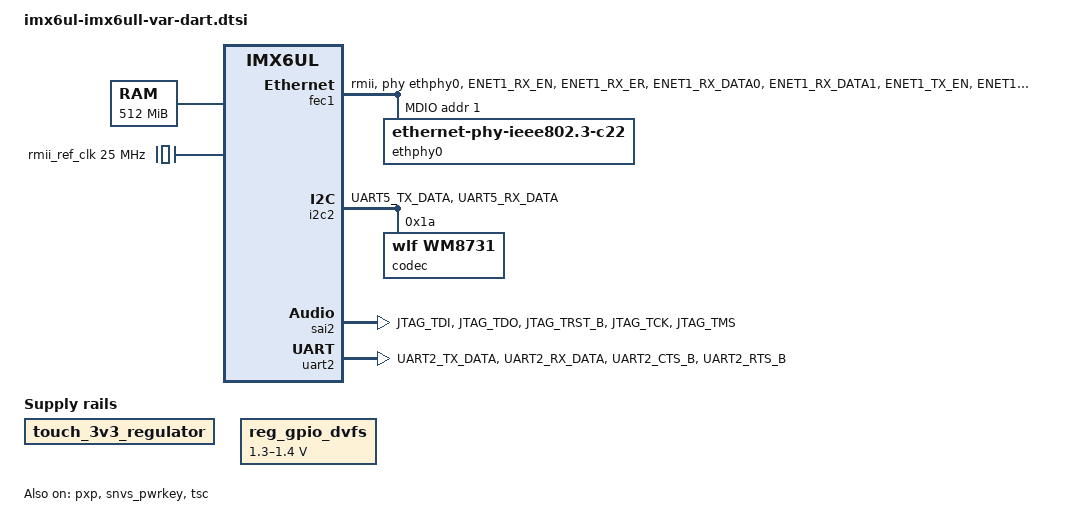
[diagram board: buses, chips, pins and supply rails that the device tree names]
/*
 * Copyright (C) 2015-2019 Variscite Ltd. - https://www.variscite.com
 *
 * This program is free software; you can redistribute it and/or modify
 * it under the terms of the GNU General Public License version 2 as
 * published by the Free Software Foundation.
 */

/ {
	memory {
		reg = <0x80000000 0x20000000>;
	};

	pxp_v4l2 {
		compatible = "fsl,imx6ul-pxp-v4l2", "fsl,imx6sx-pxp-v4l2", "fsl,imx6sl-pxp-v4l2";
		status = "okay";
	};

	regulators {
		compatible = "simple-bus";
		#address-cells = <1>;
		#size-cells = <0>;

		touch_3v3_regulator: touch_3v3_regulator {
			compatible = "regulator-fixed";
			regulator-name = "touch_3v3_supply";
			regulator-always-on;
			status = "okay";
		};

		reg_gpio_dvfs: regulator-gpio {
			compatible = "regulator-gpio";
			regulator-min-microvolt = <1300000>;
			regulator-max-microvolt = <1400000>;
			regulator-name = "gpio_dvfs";
			regulator-type = "voltage";
			gpios = <&gpio4 13 GPIO_ACTIVE_HIGH>;
			states = <1300000 0x1 1400000 0x0>;
		};
	};

	sound {
		compatible = "simple-audio-card";
		simple-audio-card,name = "wm8731audio";
		simple-audio-card,widgets =
			"Headphone", "Headphone Jack",
			"Line", "Line Jack",
			"Microphone", "Mic Jack";
		simple-audio-card,routing =
			"Headphone Jack", "RHPOUT",
			"Headphone Jack", "LHPOUT",
			"LLINEIN", "Line Jack",
			"RLINEIN", "Line Jack",
			"MICIN", "Mic Bias",
			"Mic Bias", "Mic Jack";
		simple-audio-card,format = "i2s";
		simple-audio-card,bitclock-master = <&sound_master>;
		simple-audio-card,frame-master = <&sound_master>;

		sound_master: simple-audio-card,cpu {
			sound-dai = <&sai2>;
		};

		simple-audio-card,codec {
			sound-dai = <&codec>;
			system-clock-frequency = <12288000>;
		};
	};
};

&clks {
	/* ref_clk for micrel ethernet phy */
	rmii_ref_clk: rmii_ref_clk_grp {
		compatible = "fixed-clock";
		#clock-cells = <0>;
		clock-frequency = <25000000>;
		clock-output-names = "rmii-ref";
	};
};

&clks {
	assigned-clocks = <&clks IMX6UL_CLK_PLL4_AUDIO_DIV>;
	assigned-clock-rates = <786432000>;
};

&cpu0 {
	arm-supply = <&reg_arm>;
	soc-supply = <&reg_soc>;
	dc-supply = <&reg_gpio_dvfs>;
};

&fec1 {
	pinctrl-names = "default";
	pinctrl-0 = <&pinctrl_enet1>, <&pinctrl_enet1_gpio>, <&pinctrl_enet1_mdio>;
	phy-mode = "rmii";
	phy-reset-gpios=<&gpio5 0 GPIO_ACTIVE_LOW>;
	phy-reset-duration=<100>;
	phy-handle = <&ethphy0>;
	status = "okay";

	mdio {
		#address-cells = <1>;
		#size-cells = <0>;

		ethphy0: ethernet-phy@1 {
			compatible = "ethernet-phy-ieee802.3-c22";
			micrel,rmii-reference-clock-select-25-mhz;
			micrel,led-mode = <1>;
			clocks = <&rmii_ref_clk>;
			clock-names = "rmii-ref";
			reg = <1>;
		};
	};
};

&gpc {
	fsl,cpu_pupscr_sw2iso = <0x2>;
	fsl,cpu_pupscr_sw = <0x1>;
	fsl,cpu_pdnscr_iso2sw = <0x1>;
	fsl,cpu_pdnscr_iso = <0x1>;
	fsl,ldo-bypass = <0>; /* DCDC, ldo-enable */
};

&i2c2 {
	clock_frequency = <100000>;
	pinctrl-names = "default";
	pinctrl-0 = <&pinctrl_i2c2>;
	status = "okay";

	codec: wm8731@1a {
		#sound-dai-cells = <0>;
		compatible = "wlf,wm8731";
		reg = <0x1a>;
		clocks = <&clks IMX6UL_CLK_SAI2>;
		clock-names = "mclk";
	};
};

&iomuxc {
	pinctrl_enet1: enet1grp {
		fsl,pins = <
			MX6UL_PAD_ENET1_RX_EN__ENET1_RX_EN	0x1b0b0
			MX6UL_PAD_ENET1_RX_ER__ENET1_RX_ER	0x1b0b0
			MX6UL_PAD_ENET1_RX_DATA0__ENET1_RDATA00	0x1b0b0
			MX6UL_PAD_ENET1_RX_DATA1__ENET1_RDATA01	0x1b0b0
			MX6UL_PAD_ENET1_TX_EN__ENET1_TX_EN	0x1b0b0
			MX6UL_PAD_ENET1_TX_DATA0__ENET1_TDATA00	0x1b0b0
			MX6UL_PAD_ENET1_TX_DATA1__ENET1_TDATA01	0x1b0b0
			MX6UL_PAD_ENET1_TX_CLK__ENET1_REF_CLK1	0x4001b031
		>;
	};

	pinctrl_enet1_mdio: enet1_mdiogrp {
		fsl,pins = <
			MX6UL_PAD_GPIO1_IO06__ENET1_MDIO	0x1b0b0
			MX6UL_PAD_GPIO1_IO07__ENET1_MDC		0x1b0b0
		>;
	};

	pinctrl_i2c2: i2c2grp {
		fsl,pins = <
			MX6UL_PAD_UART5_TX_DATA__I2C2_SCL	0x4001b8b0
			MX6UL_PAD_UART5_RX_DATA__I2C2_SDA	0x4001b8b0
		>;
	};

	pinctrl_sai2: sai2grp {
		fsl,pins = <
			MX6UL_PAD_JTAG_TDI__SAI2_TX_BCLK	0x17088
			MX6UL_PAD_JTAG_TDO__SAI2_TX_SYNC	0x17088
			MX6UL_PAD_JTAG_TRST_B__SAI2_TX_DATA	0x11088
			MX6UL_PAD_JTAG_TCK__SAI2_RX_DATA	0x11088
			MX6UL_PAD_JTAG_TMS__SAI2_MCLK		0x17088
		>;
	};

	pinctrl_tsc: tscgrp {
		fsl,pins = <
			MX6UL_PAD_GPIO1_IO01__GPIO1_IO01	0xb0
			MX6UL_PAD_GPIO1_IO02__GPIO1_IO02	0xb0
			MX6UL_PAD_GPIO1_IO03__GPIO1_IO03	0xb0
			MX6UL_PAD_GPIO1_IO04__GPIO1_IO04	0xb0
		>;
	};

	pinctrl_uart2: uart2grp {
		fsl,pins = <
			MX6UL_PAD_UART2_TX_DATA__UART2_DCE_TX	0x1b0b1
			MX6UL_PAD_UART2_RX_DATA__UART2_DCE_RX	0x1b0b1
			MX6UL_PAD_UART2_CTS_B__UART2_DCE_CTS	0x1b0b1
			MX6UL_PAD_UART2_RTS_B__UART2_DCE_RTS	0x1b0b1
		>;
	};
};

&pxp {
	status = "okay";
};

&sai2 {
	pinctrl-names = "default";
	pinctrl-0 = <&pinctrl_sai2>;
	assigned-clocks = <&clks IMX6UL_CLK_SAI2_SEL>,
			  <&clks IMX6UL_CLK_SAI2>;
	assigned-clock-parents = <&clks IMX6UL_CLK_PLL4_AUDIO_DIV>;
	assigned-clock-rates = <0>, <12288000>;
	fsl,sai-mclk-direction-output;
	status = "okay";
};

&snvs_poweroff {
	status = "okay";
};

&snvs_pwrkey {
	status = "okay";
};

&tsc {
	pinctrl-names = "default";
	pinctrl-0 = <&pinctrl_tsc>;
	xnur-gpio = <&gpio1 3 GPIO_ACTIVE_LOW>;
	measure_delay_time = <0xffff>;
	pre_charge_time = <0xfff>;
	status = "okay";
};

/* Bluetooth UART */
&uart2 {
	pinctrl-names = "default";
	pinctrl-0 = <&pinctrl_uart2>;
	uart-has-rtscts;
	status = "okay";
};
